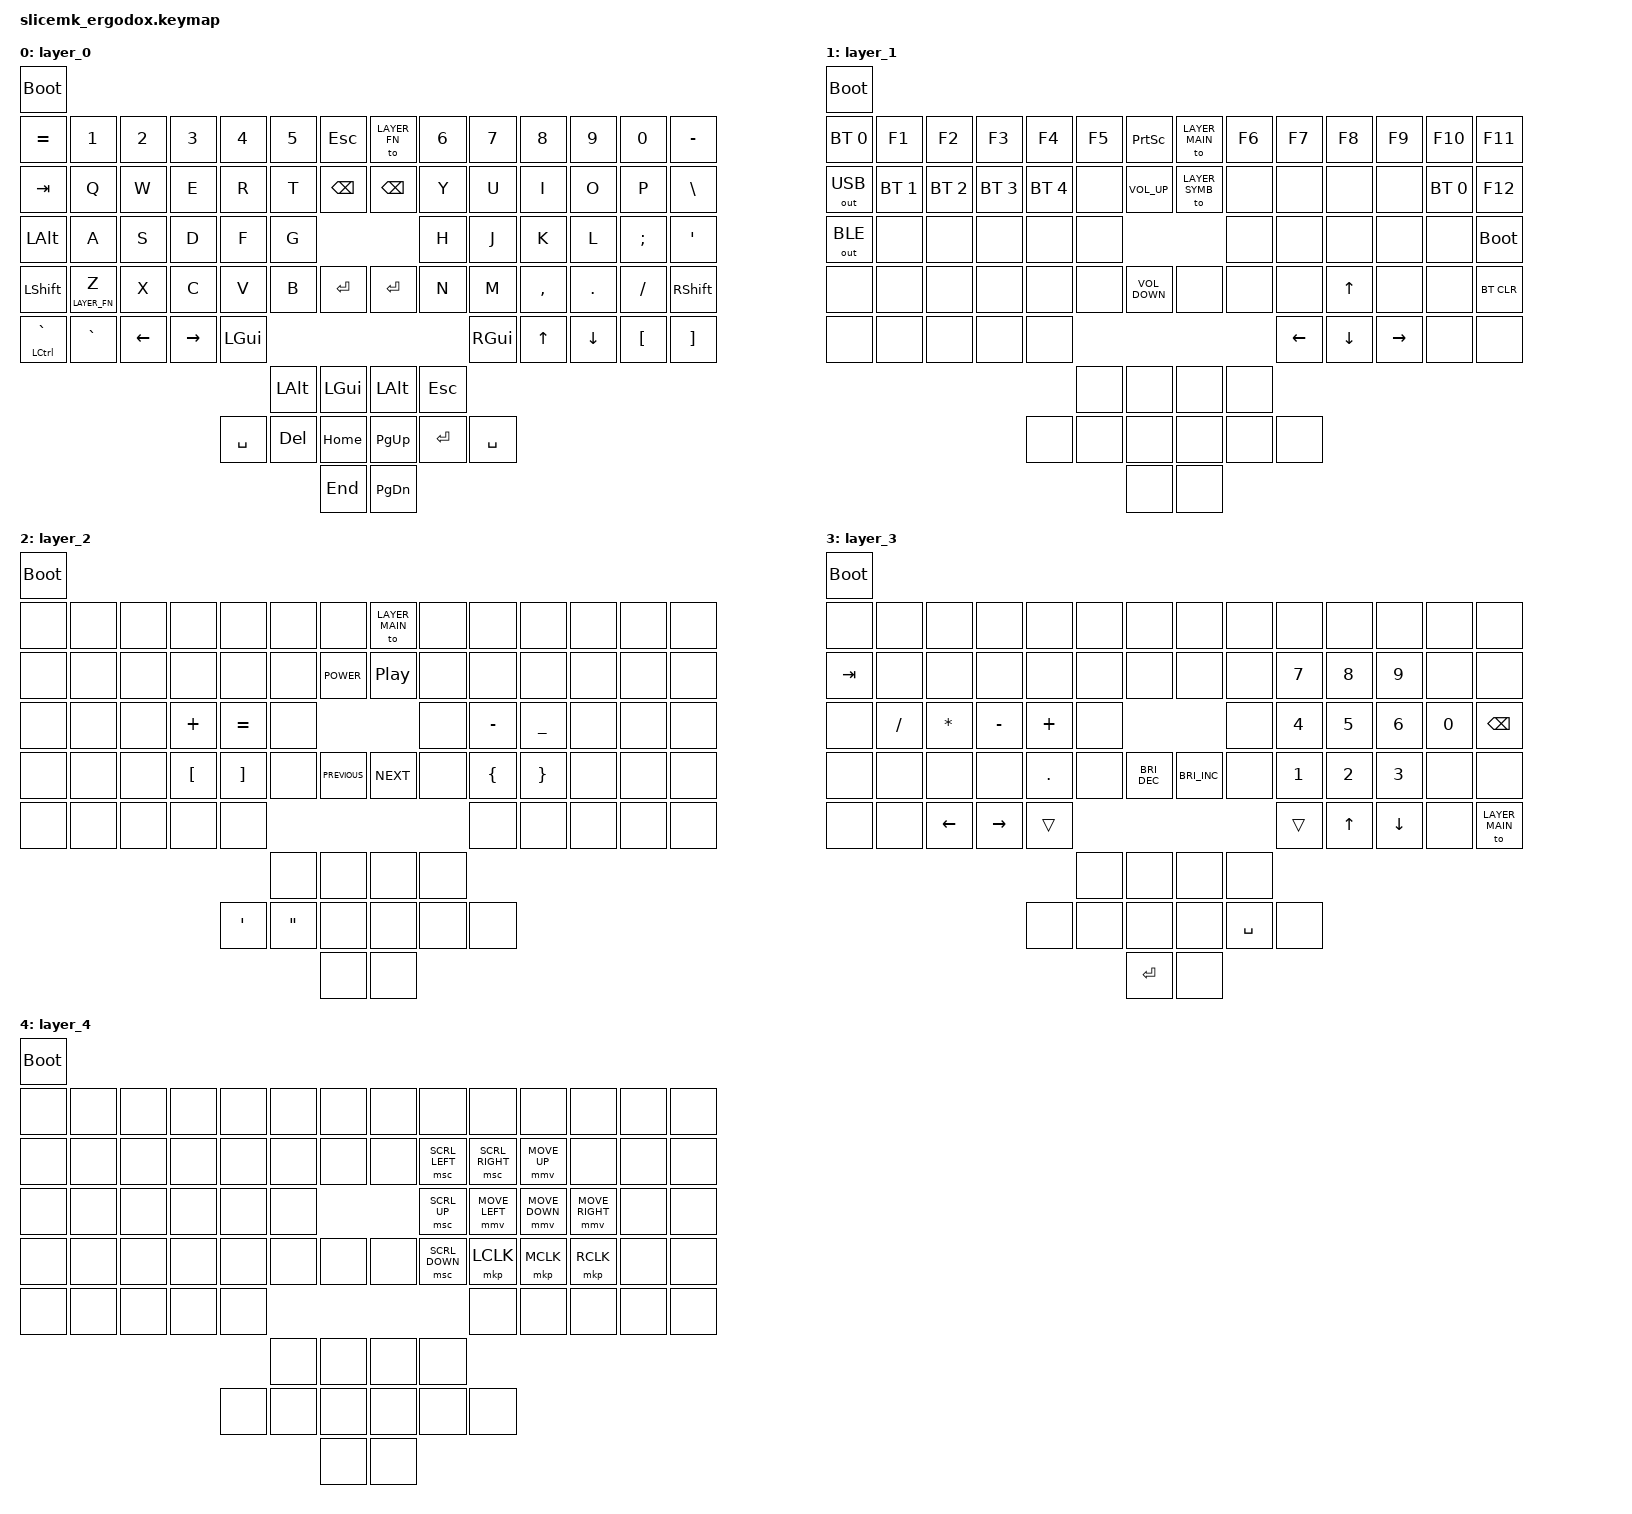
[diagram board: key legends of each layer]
#define LAYER_MAIN 0
#define LAYER_FN 1
#define LAYER_SYMB 2
#define LAYER_NMPAD 3
#define LAYER_MOUSE 4

#include <behaviors.dtsi>
#include <dt-bindings/zmk/bt.h>
#include <dt-bindings/zmk/keys.h>
#include <dt-bindings/zmk/mouse.h>
#include <dt-bindings/zmk/outputs.h>
#include <dt-bindings/zmk/rgb.h>

/ {
	keymap {
		compatible = "zmk,keymap";
		layer_0 {
			bindings = <
				&bootloader
				&kp EQUAL              &kp NUMBER_1   &kp NUMBER_2   &kp NUMBER_3    &kp NUMBER_4 &kp NUMBER_5 &kp ESCAPE    &to LAYER_FN  &kp NUMBER_6 &kp NUMBER_7  &kp NUMBER_8 &kp NUMBER_9   &kp NUMBER_0     &kp MINUS
				&kp TAB                &kp Q          &kp W          &kp E           &kp R        &kp T        &kp BACKSPACE &kp BACKSPACE &kp Y        &kp U         &kp I        &kp O          &kp P            &kp BACKSLASH
				&kp LEFT_ALT           &kp A          &kp S          &kp D           &kp F        &kp G                                    &kp H        &kp J         &kp K        &kp L          &kp SEMICOLON    &kp SINGLE_QUOTE
				&kp LEFT_SHIFT         &lt LAYER_FN Z &kp X          &kp C           &kp V        &kp B        &kp RETURN    &kp RETURN    &kp N        &kp M         &kp COMMA    &kp PERIOD     &kp SLASH        &kp RIGHT_SHIFT
				&mt LEFT_CONTROL GRAVE &kp GRAVE      &kp LEFT_ARROW &kp RIGHT_ARROW &kp LEFT_GUI                                                       &kp RIGHT_GUI &kp UP_ARROW &kp DOWN_ARROW &kp LEFT_BRACKET &kp RIGHT_BRACKET
				                                                                                  &kp LEFT_ALT &kp LEFT_GUI  &kp LEFT_ALT  &kp ESCAPE
				                                                                     &kp SPACE    &kp DELETE   &kp HOME      &kp PAGE_UP   &kp RETURN   &kp SPACE
				                                                                                               &kp END       &kp PAGE_DOWN
			>;
		};
		layer_1 {
			bindings = <
				&bootloader
				&bt BT_SEL 0 &kp F1       &kp F2       &kp F3       &kp F4       &kp F5 &kp PRINTSCREEN   &to LAYER_MAIN &kp F6 &kp F7         &kp F8         &kp F9          &kp F10      &kp F11
				&out OUT_USB &bt BT_SEL 1 &bt BT_SEL 2 &bt BT_SEL 3 &bt BT_SEL 4 &none  &kp C_VOLUME_UP   &to LAYER_SYMB &none  &none          &none          &none           &bt BT_SEL 0 &kp F12
				&out OUT_BLE &none        &none        &none        &none        &none                                   &none  &none          &none          &none           &none        &bootloader
				&none        &none        &none        &none        &none        &none  &kp C_VOLUME_DOWN &none          &none  &none          &kp UP_ARROW   &none           &none        &bt BT_CLR
				&none        &none        &none        &none        &none                                                       &kp LEFT_ARROW &kp DOWN_ARROW &kp RIGHT_ARROW &none        &none
				                                                                 &none  &none             &none          &none
				                                                    &none        &none  &none             &none          &none  &none
				                                                                        &none             &none
			>;
		};
		layer_2 {
			bindings = <
				&bootloader
				&none &none &none &none            &none             &none             &none          &to LAYER_MAIN   &none &none          &none           &none &none &none
				&none &none &none &none            &none             &none             &kp C_POWER    &kp C_PLAY_PAUSE &none &none          &none           &none &none &none
				&none &none &none &kp PLUS         &kp EQUAL         &none                                             &none &kp MINUS      &kp UNDERSCORE  &none &none &none
				&none &none &none &kp LEFT_BRACKET &kp RIGHT_BRACKET &none             &kp C_PREVIOUS &kp C_NEXT       &none &kp LEFT_BRACE &kp RIGHT_BRACE &none &none &none
				&none &none &none &none            &none                                                                     &none          &none           &none &none &none
				                                                     &none             &none          &none            &none
				                                   &kp SINGLE_QUOTE  &kp DOUBLE_QUOTES &none          &none            &none &none
				                                                                       &none          &none
			>;
		};
		layer_3 {
			bindings = <
				&bootloader
				&none   &none     &none          &none           &none      &none &none                &none                &none     &none        &none        &none          &none        &none
				&kp TAB &none     &none          &none           &none      &none &none                &none                &none     &kp NUMBER_7 &kp NUMBER_8 &kp NUMBER_9   &none        &none
				&none   &kp SLASH &kp ASTERISK   &kp MINUS       &kp PLUS   &none                                           &none     &kp NUMBER_4 &kp NUMBER_5 &kp NUMBER_6   &kp NUMBER_0 &kp BACKSPACE
				&none   &none     &none          &none           &kp PERIOD &none &kp C_BRIGHTNESS_DEC &kp C_BRIGHTNESS_INC &none     &kp NUMBER_1 &kp NUMBER_2 &kp NUMBER_3   &none        &none
				&none   &none     &kp LEFT_ARROW &kp RIGHT_ARROW &trans                                                               &trans       &kp UP_ARROW &kp DOWN_ARROW &none        &to LAYER_MAIN
				                                                            &none &none                &none                &none
				                                                 &none      &none &none                &none                &kp SPACE &none
				                                                                  &kp RETURN           &none
			>;
		};
		layer_4 {
			bindings = <
				&bootloader
				&none &none &none &none &none &none &none &none &none          &none           &none          &none           &none &none
				&none &none &none &none &none &none &none &none &msc SCRL_LEFT &msc SCRL_RIGHT &mmv MOVE_UP   &none           &none &none
				&none &none &none &none &none &none             &msc SCRL_UP   &mmv MOVE_LEFT  &mmv MOVE_DOWN &mmv MOVE_RIGHT &none &none
				&none &none &none &none &none &none &none &none &msc SCRL_DOWN &mkp LCLK       &mkp MCLK      &mkp RCLK       &none &none
				&none &none &none &none &none                                  &none           &none          &none           &none &none
				                              &none &none &none &none
				                        &none &none &none &none &none          &none
				                                    &none &none
			>;
		};
	};
};
